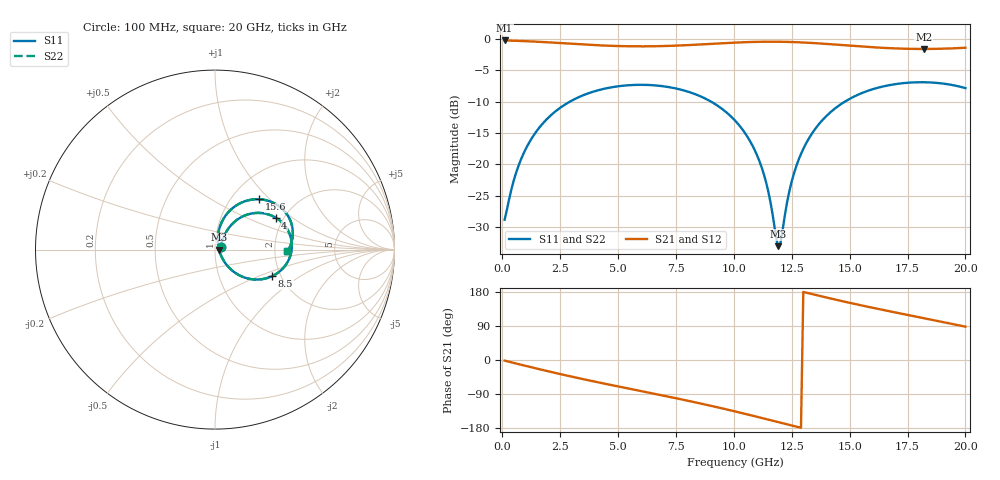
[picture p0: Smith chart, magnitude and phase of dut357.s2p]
! Touchstone file exported from HFSS 2026.1.0
!  File:  C:/ffzhzh/LocalFiles/Ansys_Project_Files/temp_train_TSV_RDL_357_1783037646_53980.aedt
!  Generated:  08:27:00 AM Jul  3, 2026
!  Design:  TSV_RDL
!  Project:  temp_train_TSV_RDL_357_1783037646_53980
! Variables:
!  h_bsmrdl = 4.25um
!  h_ox = 20um
!  h_rdl = 5um
!  h_sub = 79.83um
!  h_tmrdl = 2.59um
!  h_tsv = 79.83um
!  h_via = 3um
!  l_bsmrdl = 507.59um
!  l_sub = 4129.89um
!  l_tmrdl = 529.82um
!  m_sub = 200um
!  pitch = 36.28um
!  r_tsv = 13.08um
!  s_tmrdl = 10um
!  w_bsmrdl = 18.48um
!  w_sub = 500um
!  w_tmrdl = 10.8um
!  x_tsv_center1 = 535.22um
!  x_tsv_center2 = 1061.29um
!  x_tsv_center3 = 1601.91um
!  x_tsv_center4 = 2127.98um
!  x_tsv_center5 = 2668.6um
!  x_tsv_center6 = 3194.67um
# GHz S MA R 50.000000
! Terminal data exported
! Port[1] = TM_RDL1_1_T1
! Port[2] = TM_RDL5_1_T1
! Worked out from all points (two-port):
!   200 points, 100 MHz to 20 GHz, reference 50 ohm
!   highest |S21| = -0.30 dB at 100 MHz (marker M1); lowest = -1.6 dB at 18.2 GHz (marker M2)
!   |S21| within 3 dB of the highest: start of sweep to end of sweep
!   lowest |S11| = -33.0 dB at 11.9 GHz (marker M3), VSWR 1.05, Z = 52.3 - j0.00199 ohm
!   |S11| at or under -10 dB: start of sweep to 2.929 GHz; 9.007 GHz to 14.8 GHz (5.796 GHz wide, 48.7 % of centre)
!   |S22| runs from -32.9 to -6.9 dB; largest |S21 - S12| = 1.6e-14
!   S11 on the Smith chart (normalised r, x): 100 MHz: 1.07, +0.03; 4 GHz: 1.82, +0.76; 8.5 GHz: 1.80, -0.61; 15.6 GHz: 1.33, +0.87; 20 GHz: 2.35, -0.06
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0.1  0.03637 20.7  0.9662 -1.6  0.9662 -1.6  0.03637 20.7
! Gamma 0 0 0 0
! Port Impedance 50 0 50 0
0.6  0.08631 55.4  0.9601 -9.4  0.9601 -9.4  0.08631 55.4
1.3  0.1644 56.6  0.9485 -19.8  0.9485 -19.8  0.1644 56.6
2.3  0.2645 47.4  0.9261 -34.3  0.9261 -34.3  0.2645 47.4
3.5  0.3549 33.6  0.8973 -50.6  0.8973 -50.6  0.3549 33.6
4  0.382 27.8  0.8871 -57.1  0.8871 -57.1  0.382 27.8
6.8  0.4212 -4.6  0.8708 -92.0  0.8708 -92.0  0.4211 -4.6
8.5  0.3515 -24.9  0.8966 -113.9  0.8966 -113.9  0.3514 -24.9
10.1  0.2182 -44.4  0.9296 -136.4  0.9296 -136.4  0.2181 -44.3
10.7  0.1532 -50.5  0.9388 -145.3  0.9388 -145.3  0.1531 -50.4
11.2  0.09492 -52.8  0.9435 -152.9  0.9435 -152.9  0.09487 -52.6
11.5  0.05957 -49.0  0.9446 -157.5  0.9446 -157.5  0.05958 -48.7
11.9  0.02242 -0.0  0.9442 -163.6  0.9442 -163.6  0.02273 0.5
12  0.02299 30.7  0.9437 -165.1  0.9437 -165.1  0.02337 30.7
12.3  0.05009 71.8  0.9413 -169.7  0.9413 -169.7  0.05036 71.5
12.6  0.08531 78.4  0.9376 -174.3  0.9376 -174.3  0.08553 78.2
13.4  0.1789 74.6  0.9223 173.6  0.9223 173.6  0.1791 74.4
14.4  0.2813 63.2  0.8958 159.2  0.8958 159.2  0.2814 63.1
15.6  0.3735 48.8  0.8626 142.9  0.8626 142.9  0.3736 48.7
16.7  0.4261 35.9  0.8394 128.9  0.8394 128.9  0.4262 35.8
18.2  0.4499 19.0  0.8271 110.5  0.8271 110.5  0.4499 18.9
20  0.4039 -1.4  0.8455 88.0  0.8455 88.0  0.4039 -1.5
